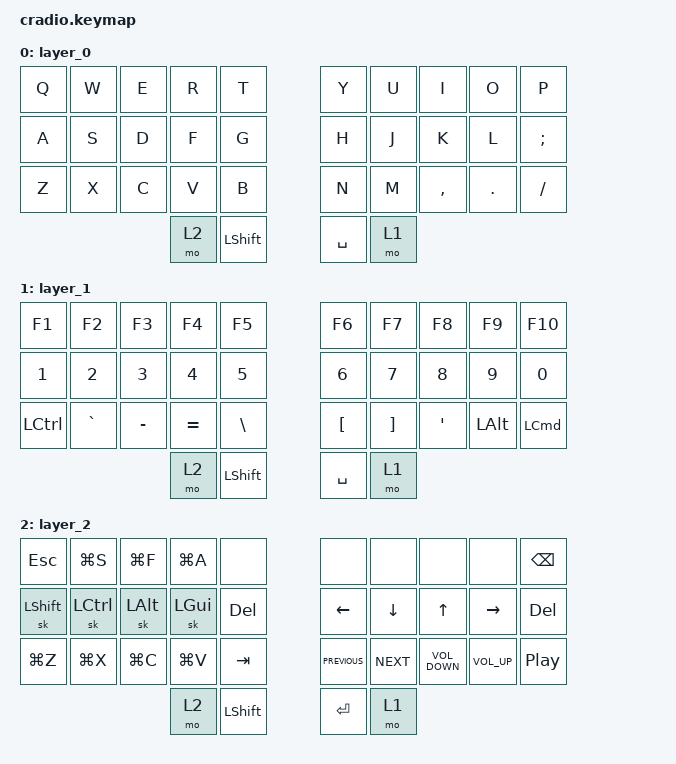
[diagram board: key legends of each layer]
#include <dt-bindings/zmk/modifiers.h>
#include <behaviors.dtsi>
#include <dt-bindings/zmk/keys.h>

/ {
    keymap {
        compatible = "zmk,keymap";

        layer_0 {
            bindings = <
&kp Q  &kp W  &kp E  &kp R  &kp T         &kp Y      &kp U  &kp I      &kp O    &kp P
&kp A  &kp S  &kp D  &kp F  &kp G         &kp H      &kp J  &kp K      &kp L    &kp SEMI
&kp Z  &kp X  &kp C  &kp V  &kp B         &kp N      &kp M  &kp COMMA  &kp DOT  &kp SLASH
                     &mo 2  &kp LSHIFT    &kp SPACE  &mo 1
            >;
        };

        layer_1 {
            bindings = <
&kp F1            &kp F2     &kp F3     &kp F4     &kp F5        &kp F6     &kp F7    &kp F8   &kp F9        &kp F10
&kp N1            &kp N2     &kp N3     &kp N4     &kp N5        &kp N6     &kp N7    &kp N8   &kp N9        &kp N0
&kp LEFT_CONTROL  &kp GRAVE  &kp MINUS  &kp EQUAL  &kp BSLH      &kp LBKT   &kp RBKT  &kp SQT  &kp LEFT_ALT  &kp LEFT_COMMAND
                                        &mo 2      &kp LSHIFT    &kp SPACE  &mo 1
            >;
        };

        layer_2 {
            bindings = <
&kp ESC         &kp LG(S)         &kp LG(F)     &kp LG(A)     &none             &none           &none       &none              &none         &kp BACKSPACE
&sk LEFT_SHIFT  &sk LEFT_CONTROL  &sk LEFT_ALT  &sk LEFT_GUI  &kp DELETE        &kp LEFT        &kp DOWN    &kp UP             &kp RIGHT     &kp DELETE
&kp LG(Z)       &kp LG(X)         &kp LG(C)     &kp LG(V)     &kp TAB           &kp C_PREVIOUS  &kp C_NEXT  &kp C_VOLUME_DOWN  &kp C_VOL_UP  &kp C_PLAY_PAUSE
                                                &mo 2         &kp LEFT_SHIFT    &kp ENTER       &mo 1
            >;
        };
    };
};
